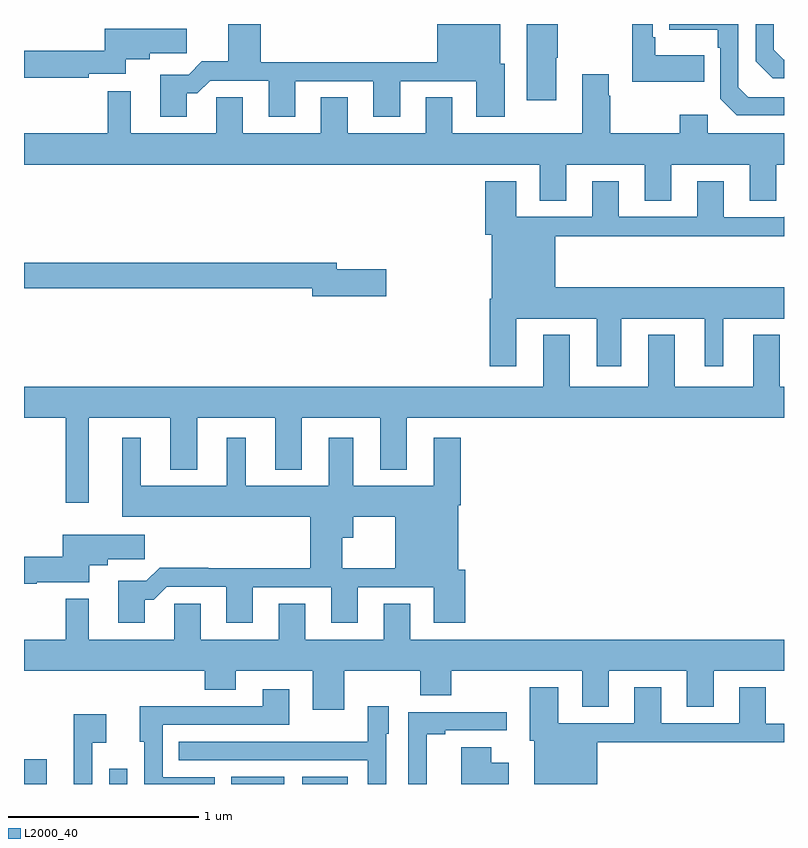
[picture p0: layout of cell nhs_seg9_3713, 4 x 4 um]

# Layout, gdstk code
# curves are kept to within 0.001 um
import gdstk
lib = gdstk.Library(unit=1e-6, precision=1e-09)
def R(c, l, rs):  # rectangles x0, y0, x1, y1
    for r in rs: c.add(gdstk.rectangle(r[:2], r[2:], *l))
def P(c, l, *ps):  # polygons
    for p in ps: c.add(gdstk.Polygon(p, *l))
L2000_40 = (2000, 40)

nhs_seg9_3713 = lib.new_cell('nhs_seg9_3713')
R(nhs_seg9_3713, L2000_40, [(323,1186.5,323.119,1186.63), (323.448,1186.5,323.544,1186.579), (324.092,1186.5,324.37,1186.537), (324.464,1186.5,324.703,1186.537)])
P(nhs_seg9_3713, L2000_40, [(327,1190.115),(326.811,1190.115),(326.76,1190.166),(326.76,1190.5),(326.395,1190.5),(326.395,1190.471),(326.652,1190.471),(326.652,1190.375),(326.664,1190.375),(326.664,1190.106),(326.751,1190.019),(327,1190.019)],
  [(325.801,1190.323),(325.809,1190.323),(325.809,1190.5),(325.646,1190.5),(325.646,1190.1),(325.801,1190.1)],
  [(327,1190.311),(326.999,1190.311),(326.946,1190.364),(326.946,1190.5),(326.85,1190.5),(326.85,1190.304),(326.94,1190.214),(327,1190.214)],
  [(323.857,1190.135),(323.912,1190.135),(323.979,1190.202),(324.287,1190.202),(324.287,1190.013),(324.427,1190.013),(324.427,1190.199),(324.839,1190.199),(324.839,1190.013),(324.979,1190.013),(324.979,1190.199),(325.379,1190.199),(325.379,1190.013),(325.531,1190.013),(325.531,1190.292),(325.507,1190.292),(325.507,1190.5),(325.175,1190.5),(325.175,1190.3),(324.245,1190.3),(324.245,1190.5),(324.074,1190.5),(324.074,1190.303),(323.936,1190.303),(323.866,1190.233),(323.717,1190.233),(323.717,1190.013),(323.857,1190.013)],
  [(326.579,1190.335),(326.323,1190.335),(326.323,1190.431),(326.31,1190.431),(326.31,1190.5),(326.202,1190.5),(326.202,1190.195),(326.579,1190.195)],
  [(323.34,1190.237),(323.536,1190.237),(323.536,1190.315),(323.662,1190.315),(323.662,1190.347),(323.857,1190.347),(323.857,1190.476),(323.426,1190.476),(323.426,1190.36),(323,1190.36),(323,1190.218),(323.34,1190.218)],
  [(325.855,1189.76),(326.267,1189.76),(326.267,1189.57),(326.407,1189.57),(326.407,1189.76),(326.819,1189.76),(326.819,1189.57),(326.958,1189.57),(326.958,1189.76),(327,1189.76),(327,1189.924),(326.598,1189.924),(326.598,1190.023),(326.452,1190.023),(326.452,1189.924),(326.085,1189.924),(326.085,1190.123),(326.077,1190.123),(326.077,1190.236),(325.937,1190.236),(325.937,1189.924),(325.255,1189.924),(325.255,1190.114),(325.115,1190.114),(325.115,1189.924),(324.703,1189.924),(324.703,1190.114),(324.563,1190.114),(324.563,1189.924),(324.151,1189.924),(324.151,1190.114),(324.012,1190.114),(324.012,1189.924),(323.563,1189.924),(323.563,1190.146),(323.442,1190.146),(323.442,1189.924),(323,1189.924),(323,1189.76),(325.715,1189.76),(325.715,1189.57),(325.855,1189.57)],
  [(325.591,1188.95),(326.015,1188.95),(326.015,1188.699),(326.143,1188.699),(326.143,1188.95),(326.582,1188.95),(326.582,1188.699),(326.68,1188.699),(326.68,1188.95),(327,1188.95),(327,1189.114),(325.795,1189.114),(325.795,1189.384),(326.779,1189.384),(326.779,1189.382),(327,1189.382),(327,1189.485),(326.997,1189.482),(326.683,1189.482),(326.683,1189.672),(326.543,1189.672),(326.543,1189.485),(326.131,1189.485),(326.131,1189.672),(325.991,1189.672),(325.991,1189.485),(325.591,1189.485),(325.591,1189.672),(325.427,1189.672),(325.427,1189.392),(325.463,1189.392),(325.463,1189.054),(325.451,1189.054),(325.451,1188.699),(325.591,1188.699)],
  [(324.907,1189.208),(324.646,1189.208),(324.646,1189.244),(323,1189.244),(323,1189.108),(324.518,1189.108),(324.518,1189.066),(324.907,1189.066)],
  [(327,1188.592),(326.977,1188.592),(326.977,1188.865),(326.837,1188.865),(326.837,1188.592),(326.425,1188.592),(326.425,1188.865),(326.285,1188.865),(326.285,1188.592),(325.873,1188.592),(325.873,1188.865),(325.733,1188.865),(325.733,1188.592),(323,1188.592),(323,1188.428),(323.22,1188.428),(323.22,1187.979),(323.341,1187.979),(323.341,1188.428),(323.771,1188.428),(323.771,1188.155),(323.911,1188.155),(323.911,1188.428),(324.323,1188.428),(324.323,1188.155),(324.463,1188.155),(324.463,1188.428),(324.875,1188.428),(324.875,1188.155),(325.015,1188.155),(325.015,1188.428),(327,1188.428)],
  [(323.969,1187.639),(323.714,1187.639),(323.644,1187.569),(323.495,1187.569),(323.495,1187.349),(323.635,1187.349),(323.635,1187.471),(323.684,1187.471),(323.751,1187.538),(324.065,1187.538),(324.065,1187.349),(324.205,1187.349),(324.205,1187.535),(324.617,1187.535),(324.617,1187.349),(324.757,1187.349),(324.757,1187.535),(325.157,1187.535),(325.157,1187.349),(325.322,1187.349),(325.322,1187.628),(325.285,1187.628),(325.285,1187.966),(325.298,1187.966),(325.298,1188.322),(325.157,1188.322),(325.157,1188.07),(324.733,1188.07),(324.733,1188.322),(324.605,1188.322),(324.605,1188.07),(324.166,1188.07),(324.166,1188.322),(324.068,1188.322),(324.068,1188.07),(323.614,1188.07),(323.614,1188.322),(323.516,1188.322),(323.516,1187.906),(324.506,1187.906),(324.506,1187.636),(324.676,1187.636),(324.676,1187.795),(324.733,1187.795),(324.733,1187.906),(324.953,1187.906),(324.953,1187.636),(323.969,1187.636)],
  [(323.068,1187.561),(323.344,1187.561),(323.344,1187.651),(323.44,1187.651),(323.44,1187.683),(323.635,1187.683),(323.635,1187.812),(323.204,1187.812),(323.204,1187.696),(323,1187.696),(323,1187.554),(323.068,1187.554)],
  [(324.341,1187.45),(324.341,1187.26),(323.929,1187.26),(323.929,1187.45),(323.79,1187.45),(323.79,1187.26),(323.341,1187.26),(323.341,1187.476),(323.22,1187.476),(323.22,1187.26),(323,1187.26),(323,1187.096),(323.951,1187.096),(323.951,1186.997),(324.115,1186.997),(324.115,1187.096),(324.521,1187.096),(324.521,1186.89),(324.685,1186.89),(324.685,1187.096),(325.085,1187.096),(325.085,1186.968),(325.249,1186.968),(325.249,1187.096),(325.937,1187.096),(325.937,1186.906),(326.077,1186.906),(326.077,1187.096),(326.489,1187.096),(326.489,1186.906),(326.629,1186.906),(326.629,1187.096),(327,1187.096),(327,1187.26),(325.033,1187.26),(325.033,1187.45),(324.893,1187.45),(324.893,1187.26),(324.481,1187.26),(324.481,1187.45)],
  [(326.017,1186.72),(327,1186.72),(327,1186.818),(326.905,1186.818),(326.905,1187.008),(326.765,1187.008),(326.765,1186.821),(326.353,1186.821),(326.353,1187.008),(326.213,1187.008),(326.213,1186.821),(325.813,1186.821),(325.813,1187.008),(325.661,1187.008),(325.661,1186.728),(325.685,1186.728),(325.685,1186.5),(326.017,1186.5)],
  [(324.003,1186.536),(323.73,1186.536),(323.73,1186.812),(324.397,1186.812),(324.397,1186.999),(324.257,1186.999),(324.257,1186.908),(323.827,1186.908),(323.827,1186.91),(323.609,1186.91),(323.609,1186.722),(323.634,1186.722),(323.634,1186.5),(324.003,1186.5)],
  [(324.906,1186.764),(324.919,1186.764),(324.919,1186.909),(324.81,1186.909),(324.81,1186.723),(324.493,1186.723),(324.493,1186.722),(323.815,1186.722),(323.815,1186.626),(324.81,1186.626),(324.81,1186.5),(324.906,1186.5)],
  [(325.121,1186.762),(325.216,1186.762),(325.216,1186.782),(325.54,1186.782),(325.54,1186.878),(325.023,1186.878),(325.023,1186.5),(325.121,1186.5)],
  [(323.358,1186.718),(323.434,1186.718),(323.434,1186.867),(323.261,1186.867),(323.261,1186.5),(323.358,1186.5)],
  [(325.552,1186.612),(325.459,1186.612),(325.459,1186.693),(325.301,1186.693),(325.301,1186.5),(325.552,1186.5)])

lib.write_gds('nhs_seg9_3713.gds')
